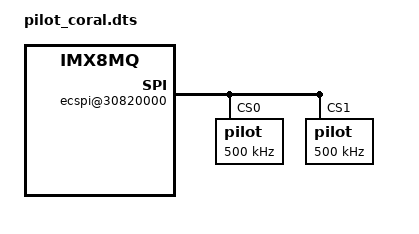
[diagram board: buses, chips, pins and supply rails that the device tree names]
/dts-v1/;
/plugin/;


/// compile like this
/// dtc -I dts -O dtb -o pilot_coral.dtbo -b 0 -@ pilot_coral.dts 



/ {

   compatible = "fsl,imx8mq-phanbell\0fsl,imx8mq";
   /* disable spi-dev for spi0.0 & spi0.1 */
   fragment@0   {

	target-path="/ecspi@30820000";


	__overlay__ {
		status = "okay";



		spidev@1 {
			status = "disabled";
		};

		spidev@0 {
			status = "dsiabled";
		};

	};

    };





// we need to remove the PWM driver or we wont be able to use GPIO14 (pin 22) 

   fragment@1   {

	target-path="/";


	__overlay__ {

		pwm@30680000 {
			status = "disabled";
		};


	};

    };




    fragment@2 {
	target-path = "/ecspi@30820000";

	__overlay__ {
            #address-cells = <1>;
            #size-cells = <0>;
            pinctrl-names = "default";

            pilot@0 {
                compatible = "pilot";
                #address-cells = <0x1>;
                #size-cells = <0x0>;
                reg = <0>;
// the frequency is currently ignored by the pilot kernel module and fixed to 25.000.000 hz
                spi-max-frequency = <0x7a120>;
		status = "okay";

/*
 finding this values is a lot o work


	mendel@hopeful-ibis:~/pilotdriver-master/src$ dtc -q -I fs /proc/device-tree | grep /gpio@30200000
		gpio0 = "/gpio@30200000";
	mendel@hopeful-ibis:~/pilotdriver-master/src$ dtc -q -I fs /proc/device-tree | grep -A 10 gpio@30200000 
	
	gpio@30200000 {
		compatible = "fsl,imx8mq-gpio\0fsl,imx35-gpio";
		gpio-controller;
		#interrupt-cells = <0x02>;
		interrupts = <0x00 0x40 0x04 0x00 0x41 0x04>;
		phandle = <0x52>;

  so the first byte here is the phandle of the chip, the second byte is the pin and the third byte the default state

  data_m2r-gpios = <0x52 0x06 0x00>;

this is pin 6 connected to GPIO chip 0
the phandle attribute of the gpio0  alias is what we need as an offset.


those pins are connected to GPIOchip #4 as the datasheet revealed:
https://www.nxp.com/docs/en/data-sheet/IMX8MDQLQIEC.pdf

                boot-gpios =     <0x26 0x1B 0x00>;
                reset-gpios =    <0x26 0x1A 0x00>;

*/
 	        data_m2r-gpios = <0x52 0x06 0x00>;
                boot-gpios =     <0x26 0x1B 0x00>;
                reset-gpios =    <0x26 0x1A 0x00>;

            };

            pilot@1 {
                compatible = "pilot";
                #address-cells = <0x1>;
                #size-cells = <0x0>;
                reg = <1>;     
                spi-max-frequency = <0x7a120>;
		status = "okay";
// 	        data_m2r-gpios = <&gpio0 6 0>;
//                boot-gpios =     <&gpio4 155 0>;
//                reset-gpios =    <&gpio4 154 0>;
            };
	};
    };




};
